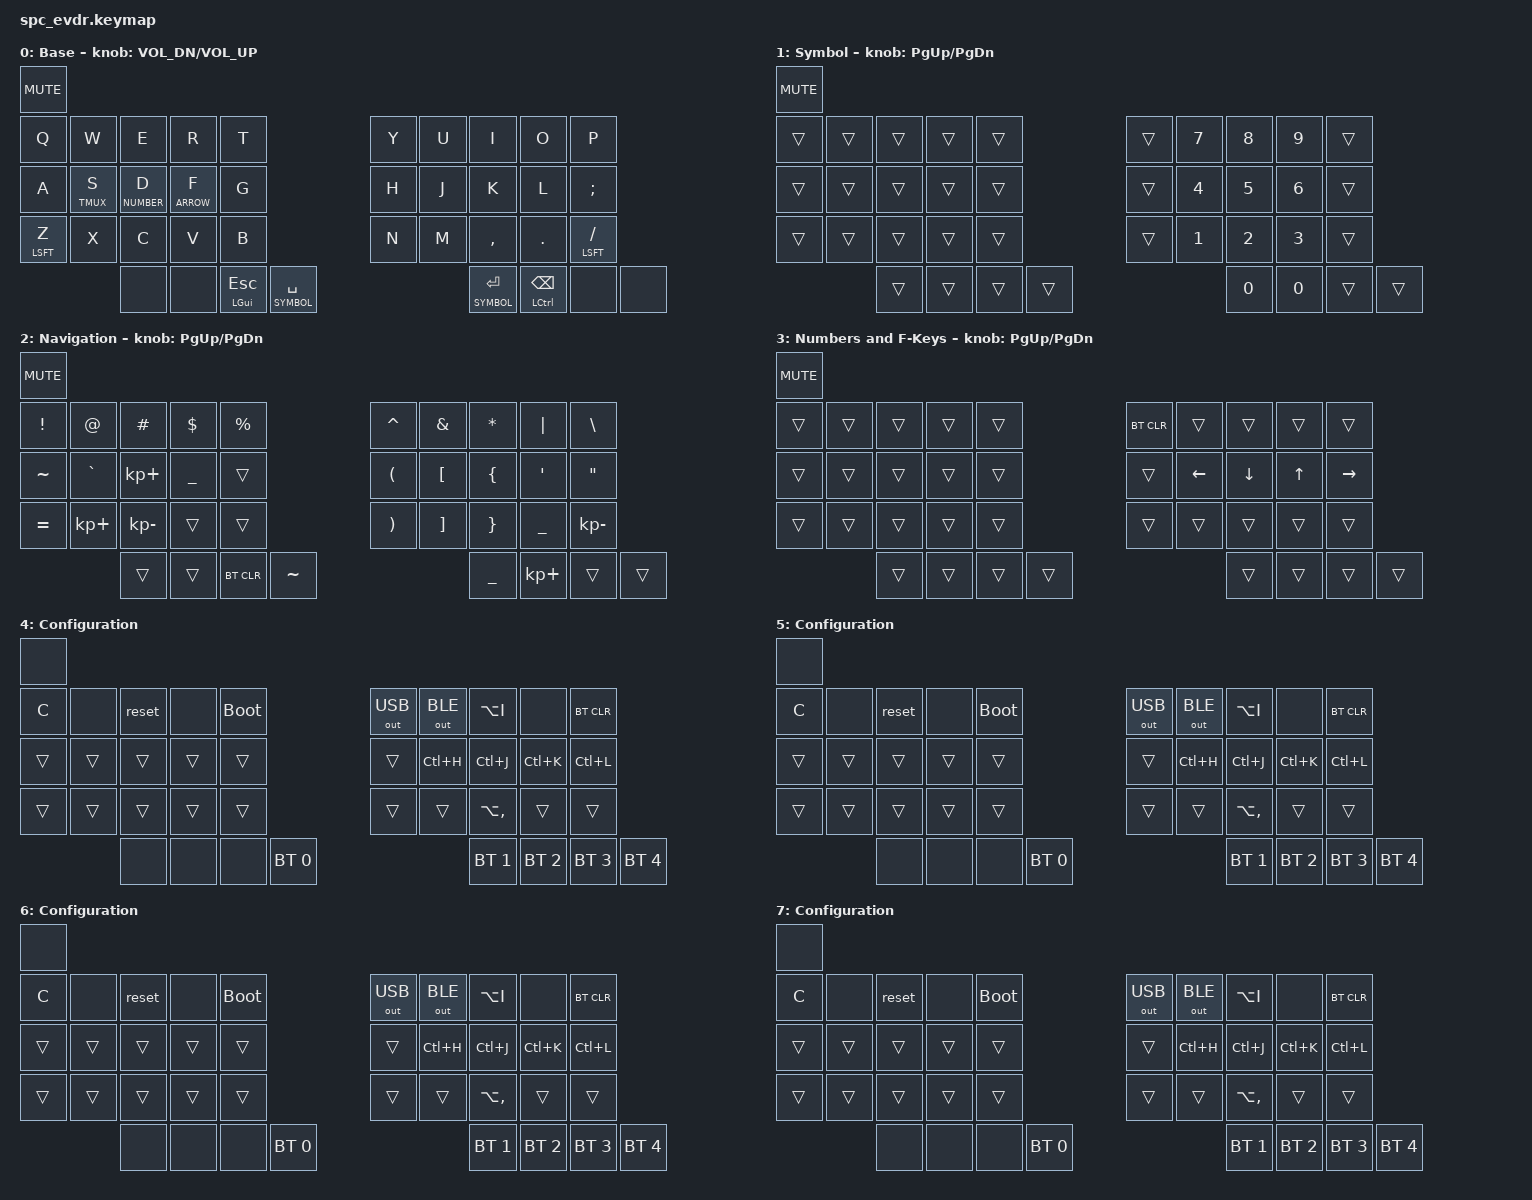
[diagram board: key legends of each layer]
/*
 * Copyright (c) 2022 weteor
 *
 * SPDX-License-Identifier: MIT
 */

#include <behaviors.dtsi>
#include <dt-bindings/zmk/keys.h>
#include <dt-bindings/zmk/bt.h>
#include <dt-bindings/zmk/outputs.h>

#define BASE 0
#define NUMBER 1
#define SYMBOL 2
#define ARROW 3
#define TMUX 4
#define CFG_L 5
#define BLE_L 6
#define GAME 7

// repeating space/backspace
&lt { quick_tap_ms = <200>; };

/ {
    combos {
        compatible = "zmk,combos";
        combo_del {
            timeout-ms = <50>;
            key-positions = <16 17>;
            bindings = <&kp BSPC>;
        };
        combo_tab {
            timeout-ms = <50>;
            key-positions = <17 18>;
            bindings = <&kp TAB>;
        };
        
         combo_alt {
            timeout-ms = <50>;
            key-positions = <26 27>;
            bindings = <&kp LALT>;
        };
    };

    behaviors {
    };
    
    //&sl {
    //release-after-ms = <750>;
    //};
    
// COMBOS
// vertical
// -------------------------------     -------------------------------
// |  Q  |  W  |  E  |  R  |  T  |     |  Y  |  U  |  I  |  O  |  P  | 
// |  /  |  [  |  {  |  (  |  =  |     |  *  |  )  |  }  |  ]  |  \  |  
// |  A  |  S  |  D  |  F  |  G  |     |  H  |  J  |  K  |  L  |  '  | 
//
// others:
// Q + W - escape
// W + E - tab
// I + O - backspace
// C + , - word caps
// both inner thumbs -> Layer CFG
// both left thumbs  -> Layer BLE

    keymap {
        compatible = "zmk,keymap";

        base_layer {
            label = " Base";
// -------------------------------     -------------------------------
// |  Q  |  W  |  E  |  R  |  T  |  Y  |  U  |  I  |  O  |  P  | 
// |A sft|S win|D alt|F ctl|  G  |  H  |J ctl|K alt|L win|' sft| 
// |  Z  |  X  |  C  |  V  |  B  |  N  |  M  |  ,  |  .  |  ;  | 
// |     |     |xxxxx| Nav | Spc/| Ent | Sym |xxxxx|     |     |
//                           Num
// -------------------------------     -------------------------------
            bindings = <
                &kp C_MUTE
		&kp Q &kp W &kp E &kp R &kp T 						        &kp Y &kp U  &kp I    &kp O   &kp P 
                &kp A &lt TMUX S &lt NUMBER D &lt ARROW F &kp G 	        	        &kp H &kp J &kp K &kp L &kp SEMICOLON
		&mt LSFT Z &kp X &kp C &kp V &kp B				                &kp N &kp M  &kp CMMA &kp DOT &mt LSFT SLASH

          	&none &none &mt LGUI ESC &lt SYMBOL SPACE   			 &lt SYMBOL ENTER  &mt LCTRL BSPC &none &none
            >;
            sensor-bindings = <&inc_dec_kp C_VOL_DN C_VOL_UP>;
        };
        
        number_layer {
            label = " Symbol";
// -------------------------------     -------------------------------
// |  `  |  ^  |  @  |  $  |  ~  |  -  |     |     |     |     |     | 
// |  &  |  !  |  +  |  _  |  #  |     |pg up| ctrl| ralt| gui | sft | 
// |  |  |  ?  |  -  |  %  |     |  -  |pg dn|     |     |     |     | 
// |     |     |xxxxx|     |     |     |     |     |xxxxx|     |     |
// -------------------------------     -------------------------------
            bindings = <
                &kp C_MUTE 
              &trans    &trans    &trans    &trans    &trans                         &trans    &kp N7 &kp N8 &kp N9    &trans     
              &trans    &trans    &trans    &trans    &trans                         &trans    &kp N4 &kp N5 &kp N6    &trans 
              &trans    &trans    &trans    &trans    &trans                         &trans    &kp N1 &kp N2 &kp N3    &trans
                                   &trans &trans         &trans    &trans                         &kp N0     &kp N0 &trans &trans
            >;
            sensor-bindings = <&inc_dec_kp PG_UP PG_DN>;
        };

        symbol_layer {
            label = " Navigation";
// -------------------------------     -------------------------------
// |     |     |     |     |     |  -  |     |pg dn| up  |pg up| del | 
// | sft | gui | alt | ctrl|     |     |home |left |down |right| end | 
// |     |     |     |     |     |  -  |     |prev | play|stop | next| 
// |     |     |xxxxx|     |     |     |     |     |xxxxx|     |     |
// -------------------------------     -------------------------------
            bindings = <
                &kp C_MUTE 
              &kp EXCL &kp AT    &kp HASH &kp DOLLAR &kp PERCENT                &kp CARET &kp AMPERSAND &kp ASTERISK  &kp PIPE &kp BACKSLASH
              &kp TILDE    &kp GRAVE    &kp KP_PLUS    &kp UNDER    &trans              &kp LPAR    &kp LBKT    &kp LBRC    &kp SQT    &kp DQT  
              &kp EQUAL    &kp KP_PLUS    &kp KP_MINUS    &trans    &trans            &kp RPAR    &kp RBKT    &kp RBRC    &kp UNDER    &kp KP_MINUS  
                &trans &trans               &bt BT_CLR   &kp TILDE            &kp UNDER    &kp KP_PLUS  &trans &trans 
            >;
            sensor-bindings = <&inc_dec_kp PG_UP PG_DN>;
        };
        
        arrow_layer {
            label = " Numbers and F-Keys";
// -------------------------------     -------------------------------
// |     |  F9 | F10 | F11 | F12 |  -  |  +  | num7| num8| num9|  /  | 
// |     |  F5 |  F6 |  F7 |  F8 |     |  0  | num4| num5| num6|  .  | 
// |     |  F1 |  F2 |  F3 |  F4 |  -  |  -  | num1| num2| num3|  *  | 
// |     |     |xxxxx|     |     |     |  =  | ent |xxxxx|     |     |
// -------------------------------     -------------------------------
            bindings = <
                &kp C_MUTE 
              &trans    &trans    &trans    &trans    &trans                         &bt BT_CLR    &trans    &trans    &trans    &trans     
              &trans    &trans    &trans    &trans    &trans                         &trans    &kp LEFT  &kp DOWN    &kp UP  &kp RIGHT  
              &trans    &trans    &trans    &trans    &trans                        &trans    &trans    &trans    &trans    &trans
                                  &trans    &trans   &trans    &trans &trans    &trans    &trans    &trans  
            >;
            sensor-bindings = <&inc_dec_kp PG_UP PG_DN>;
        };

        tmux_layer {
            label = " Configuration";
// -------------------------------     -------------------------------
// |     |     |     |     |     |  -  | USB | BLE |     |     |BTCLR| 
// |     |     |     |     |     |     |     |     |     |     |     | 
// |numlk|PSCRN|     |     |     |  -  | BT0 | BT1 | BT2 | BT3 | BT4 | 
// |     |     |xxxxx|     |     |     |     |     |xxxxx|     |     |
// -------------------------------     -------------------------------
            bindings = <
                &none
                &kp C       &none       &reset       &none       &bootloader               &out OUT_USB &out OUT_BLE &kp LA(I)    &none        &bt BT_CLR
                &trans    &trans    &trans    &trans    &trans                         &trans    &kp LC(H) &kp LC(J)    &kp LC(K)    &kp LC(L)
                &trans    &trans    &trans    &trans    &trans                         &trans    &trans    &kp LA(COMMA)    &trans    &trans 
                   &none        &none         &none                   &bt BT_SEL 0 &bt BT_SEL 1 &bt BT_SEL 2 &bt BT_SEL 3 &bt BT_SEL 4
            >;
        };
        
        cfg_layer {

            label = " Configuration";
// -------------------------------     -------------------------------
// |     |     |     |     |     |  -  | USB | BLE |     |     |BTCLR| 
// |     |     |     |     |     |     |     |     |     |     |     | 
// |numlk|PSCRN|     |     |     |  -  | BT0 | BT1 | BT2 | BT3 | BT4 | 
// |     |     |xxxxx|     |     |     |     |     |xxxxx|     |     |
// -------------------------------     -------------------------------
            bindings = <
                &none
                &kp C       &none       &reset       &none       &bootloader               &out OUT_USB &out OUT_BLE &kp LA(I)    &none        &bt BT_CLR
                &trans    &trans    &trans    &trans    &trans                         &trans    &kp LC(H) &kp LC(J)    &kp LC(K)    &kp LC(L)
                &trans    &trans    &trans    &trans    &trans                         &trans    &trans    &kp LA(COMMA)    &trans    &trans 
                   &none        &none         &none                   &bt BT_SEL 0 &bt BT_SEL 1 &bt BT_SEL 2 &bt BT_SEL 3 &bt BT_SEL 4
            >;
        };
        
        ble_layer {

            label = " Configuration";
// -------------------------------     -------------------------------
// |     |     |     |     |     |  -  | USB | BLE |     |     |BTCLR| 
// |     |     |     |     |     |     |     |     |     |     |     | 
// |numlk|PSCRN|     |     |     |  -  | BT0 | BT1 | BT2 | BT3 | BT4 | 
// |     |     |xxxxx|     |     |     |     |     |xxxxx|     |     |
// -------------------------------     -------------------------------
            bindings = <
                &none
                &kp C       &none       &reset       &none       &bootloader               &out OUT_USB &out OUT_BLE &kp LA(I)    &none        &bt BT_CLR
                &trans    &trans    &trans    &trans    &trans                         &trans    &kp LC(H) &kp LC(J)    &kp LC(K)    &kp LC(L)
                &trans    &trans    &trans    &trans    &trans                         &trans    &trans    &kp LA(COMMA)    &trans    &trans 
                   &none        &none         &none                   &bt BT_SEL 0 &bt BT_SEL 1 &bt BT_SEL 2 &bt BT_SEL 3 &bt BT_SEL 4
            >;
        };
        
        game_layer {

            label = " Configuration";
// -------------------------------     -------------------------------
// |     |     |     |     |     |  -  | USB | BLE |     |     |BTCLR| 
// |     |     |     |     |     |     |     |     |     |     |     | 
// |numlk|PSCRN|     |     |     |  -  | BT0 | BT1 | BT2 | BT3 | BT4 | 
// |     |     |xxxxx|     |     |     |     |     |xxxxx|     |     |
// -------------------------------     -------------------------------
            bindings = <
                &none
                &kp C       &none       &reset       &none       &bootloader               &out OUT_USB &out OUT_BLE &kp LA(I)    &none        &bt BT_CLR
                &trans    &trans    &trans    &trans    &trans                         &trans    &kp LC(H) &kp LC(J)    &kp LC(K)    &kp LC(L)
                &trans    &trans    &trans    &trans    &trans                         &trans    &trans    &kp LA(COMMA)    &trans    &trans 
                   &none        &none         &none                   &bt BT_SEL 0 &bt BT_SEL 1 &bt BT_SEL 2 &bt BT_SEL 3 &bt BT_SEL 4
            >;
        };
    };
};


